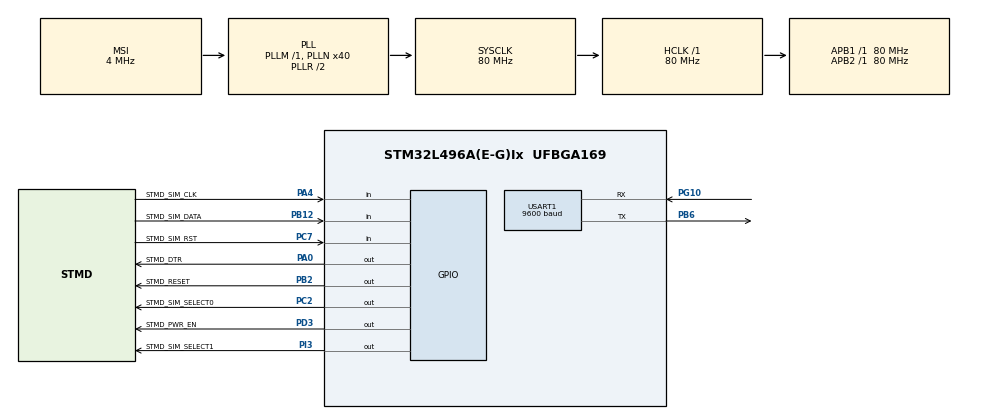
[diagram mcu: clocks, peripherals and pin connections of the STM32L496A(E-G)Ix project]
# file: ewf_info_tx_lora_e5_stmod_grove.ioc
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Mcu.Family=STM32L4
Mcu.Name=STM32L496A(E-G)Ix
Mcu.Package=UFBGA169
NVIC.PriorityGroup=NVIC_PRIORITYGROUP_4
NVIC.TIM6_DAC_IRQn=true\:15\:0\:false\:false\:true\:false\:false\:true\:true
NVIC.TimeBase=TIM6_DAC_IRQn
NVIC.TimeBaseIP=TIM6
NVIC.USART1_IRQn=true\:0\:0\:false\:false\:true\:false\:true\:true\:true
PA0.GPIO_Label=STMD_DTR
PA0.Signal=GPIO_Output
PA13\ (JTMS/SWDIO).Signal=SYS_JTMS-SWDIO
PA14\ (JTCK/SWCLK).Signal=SYS_JTCK-SWCLK
PA4.GPIO_Label=STMD_SIM_CLK
PA4.Signal=GPIO_Input
PB12.GPIO_Label=STMD_SIM_DATA
PB12.Signal=GPIO_Input
PB2.GPIO_Label=STMD_RESET
PB2.PinState=GPIO_PIN_SET
PB2.Signal=GPIO_Output
PB3\ (JTDO/TRACESWO).Signal=SYS_JTDO-SWO
PB6.Mode=Asynchronous
PB6.Signal=USART1_TX
PC2.GPIO_Label=STMD_SIM_SELECT0
PC2.GPIO_PuPd=GPIO_PULLDOWN
PC2.Signal=GPIO_Output
PC7.GPIO_Label=STMD_SIM_RST
PC7.Signal=GPIO_Input
PD3.GPIO_Label=STMD_PWR_EN
PD3.GPIO_PuPd=GPIO_NOPULL
PD3.PinState=GPIO_PIN_SET
PD3.Signal=GPIO_Output
PG10.Mode=Asynchronous
PG10.Signal=USART1_RX
PG11.Signal=USART1_CTS
PG12.Signal=USART1_RTS
PI3.GPIO_Label=STMD_SIM_SELECT1
PI3.GPIO_PuPd=GPIO_PULLDOWN
PI3.Signal=GPIO_Output
ProjectManager.HeapSize=0x200
ProjectManager.StackSize=0x400
ProjectManager.TargetToolchain=STM32CubeIDE
RCC.ADCFreq_Value=40000000
RCC.AHBFreq_Value=80000000
RCC.APB1Freq_Value=80000000
RCC.APB1TimFreq_Value=80000000
RCC.APB2Freq_Value=80000000
RCC.APB2TimFreq_Value=80000000
RCC.CortexFreq_Value=80000000
RCC.HCLKFreq_Value=80000000
RCC.HSE_VALUE=8000000
RCC.HSI48_VALUE=48000000
RCC.HSI_VALUE=16000000
RCC.LSE_VALUE=32768
RCC.MSI_VALUE=4000000
RCC.PLLN=40
RCC.PLLSAI1N=20
RCC.SYSCLKFreq_VALUE=80000000
RCC.SYSCLKSource=RCC_SYSCLKSOURCE_PLLCLK
RCC.USBFreq_Value=40000000
RCC.VCOOutputFreq_Value=160000000
STMicroelectronics.X-CUBE-AZRTOS-L4.1.0.0.TX_APP_MEM_POOL_SIZE=512
STMicroelectronics.X-CUBE-AZRTOS-L4.1.0.0.ThreadXCcRTOSJjThreadXJjCore=true
STMicroelectronics.X-CUBE-AZRTOS-L4.1.0.0_IsAnAzureRtosMw=true
USART1.BaudRate=9600
USART1.DMADisableonRxErrorParam=ADVFEATURE_DMA_ENABLEONRXERROR
USART1.VirtualMode-Asynchronous=VM_ASYNC
VP_STMicroelectronics.X-CUBE-AZRTOS-L4_VS_RTOSJjThreadX_6.1.7_1.0.0.Mode=RTOSJjThreadX
VP_SYS_VS_tim6.Mode=TIM6
board=STM32L496G-DISCO

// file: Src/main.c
/* USER CODE BEGIN Header */
/**
  ******************************************************************************
  * @file           : main.c
  * @brief          : Main program body
  ******************************************************************************
  * @attention
  *
  * Copyright (c) 2022 STMicroelectronics.
  * All rights reserved.
  *
  * This software is licensed under terms that can be found in the LICENSE file
  * in the root directory of this software component.
  * If no LICENSE file comes with this software, it is provided AS-IS.
  *
  ******************************************************************************
  */
/* USER CODE END Header */
#include "main.h"
#include "app_threadx.h"

/* USER CODE BEGIN Includes */

#include <stdio.h>

#include "ewf_lib.c"
#include "ewf_platform_threadx.c"
#include "ewf_allocator.c"
#include "ewf_allocator_threadx.c"
#include "ewf_interface.c"
#include "ewf_interface_stm32_uart.c"
#include "ewf_adapter.c"
#include "ewf_adapter_api_control.c"
#include "ewf_adapter_api_info.c"
#include "ewf_adapter_api_tls_basic.c"
#include "ewf_adapter_api_mqtt_basic.c"
#include "ewf_adapter_api_tcp.c"
#include "ewf_adapter_api_udp.c"
#include "ewf_adapter_seeed_lora_e5.c"
#include "ewf_example.config.h"

/* USER CODE END Includes */

/* USER CODE BEGIN PTD */
#if defined ( __GNUC__) && !defined(__clang__)
/* With GCC, small printf (option LD Linker->Libraries->Small printf
   set to 'Yes') calls __io_putchar() */
#define PUTCHAR_PROTOTYPE int __io_putchar(int ch)
#else
#define PUTCHAR_PROTOTYPE int fputc(int ch, FILE *f)
#endif /* __GNUC__ */

/* USER CODE END PTD */

UART_HandleTypeDef huart1;

void SystemClock_Config(void);
static void MX_GPIO_Init(void);
static void MX_USART1_UART_Init(void);

/* USER CODE BEGIN 0 */

/**
* @brief  Retargets the C library printf function to the USART.
* @param  None
* @retval None
*/

PUTCHAR_PROTOTYPE
{
    /* Place your implementation of fputc here */
    /* e.g. write a character to the USART1 and Loop until the end of transmission */
    ITM_SendChar(ch);
    return ch;
}

ewf_result ewf_adapter_seed_lora_e5_test_raw_transmit(ewf_adapter* adapter_ptr)
{
    EWF_ADAPTER_VALIDATE_POINTER(adapter_ptr);
    EWF_ADAPTER_VALIDATE_POINTER_TYPE(adapter_ptr, EWF_ADAPTER_TYPE_SEEED_LORA_E5);
    ewf_interface* interface_ptr = adapter_ptr->interface_ptr;
    EWF_INTERFACE_VALIDATE_POINTER(interface_ptr);

    ewf_result result;

    // Setup
    if (ewf_result_failed(result = ewf_interface_send_command(interface_ptr, "AT\r\n"))) return result;
    if (ewf_result_failed(result = ewf_interface_drop_response(interface_ptr))) return result;

    if (ewf_result_failed(result = ewf_interface_send_command(interface_ptr, "AT+MODE=TEST\r\n"))) return result;
    if (ewf_result_failed(result = ewf_interface_drop_response(interface_ptr))) return result;

    if (ewf_result_failed(result = ewf_interface_send_command(interface_ptr, "AT+TEST=RFCFG,866,SF12,125,12,15,14,ON,OFF,OFF\r\n"))) return result;
    if (ewf_result_failed(result = ewf_interface_drop_response(interface_ptr))) return result;

	// Loop
	for (int i = 0; i < (60 * 60 * 1); i++)
	{
        if (ewf_result_failed(result = ewf_interface_send_command(interface_ptr, "AT+MODE=RXLRPKT\r\n"))) return result;
        if (ewf_result_failed(result = ewf_interface_drop_response(interface_ptr))) return result;
	}

	return EWF_RESULT_OK;
}

void thread_sample_entry(ULONG thread_input)
{
    ewf_result result;

    ewf_allocator* message_allocator_ptr = NULL;
    ewf_interface* interface_ptr = NULL;
    ewf_adapter* adapter_ptr = NULL;

    EWF_ALLOCATOR_THREADX_STATIC_DECLARE(message_allocator_ptr, message_allocator,
        EWF_CONFIG_ALLOCATOR_BLOCK_COUNT,
        EWF_CONFIG_ALLOCATOR_BLOCK_SIZE);
    EWF_INTERFACE_STM32_UART_STATIC_DECLARE(interface_ptr, stm32_uart_port, &huart1);
    EWF_ADAPTER_SEEED_LORA_E5_STATIC_DECLARE(adapter_ptr, lora_e5, message_allocator_ptr, NULL, interface_ptr);

    // Initialize the port
    MX_USART1_UART_Init();

    // Start the adapter
    if (ewf_result_failed(result = ewf_adapter_start(adapter_ptr)))
    {
        EWF_LOG_ERROR("Failed to start the adapter, ewf_result %d.\n", result);
        return;
    }

    // Call the raw transmit test
	if (ewf_result_failed(result = ewf_adapter_seed_lora_e5_test_raw_transmit(adapter_ptr)))
	{
        EWF_LOG_ERROR("The raw transmit test failed, ewf_result %d.\n", result);
        // continue
	}

    EWF_LOG("\nDone!\n");

    /* Wait forever  */
    while (1)
    {
        EWF_LOG(".");
        ewf_platform_sleep(EWF_PLATFORM_TICKS_PER_SECOND);
    }
}
/* USER CODE END 0 */

int main(void)
{

  /* MCU Configuration--------------------------------------------------------*/

  /* Reset of all peripherals, Initializes the Flash interface and the Systick. */
  HAL_Init();

  /* Configure the system clock */
  SystemClock_Config();

  /* Initialize all configured peripherals */
  MX_GPIO_Init();

  MX_ThreadX_Init();

  /* We should never get here as control is now taken by the scheduler */
  /* Infinite loop */
  while (1)
  {

  }
}

void SystemClock_Config(void)
{
  RCC_OscInitTypeDef RCC_OscInitStruct = {0};
  RCC_ClkInitTypeDef RCC_ClkInitStruct = {0};

  /** Configure the main internal regulator output voltage
  */
  if (HAL_PWREx_ControlVoltageScaling(PWR_REGULATOR_VOLTAGE_SCALE1) != HAL_OK)
  {
    Error_Handler();
  }

  /** Initializes the RCC Oscillators according to the specified parameters
  * in the RCC_OscInitTypeDef structure.
  */
  RCC_OscInitStruct.OscillatorType = RCC_OSCILLATORTYPE_MSI;
  RCC_OscInitStruct.MSIState = RCC_MSI_ON;
  RCC_OscInitStruct.MSICalibrationValue = 0;
  RCC_OscInitStruct.MSIClockRange = RCC_MSIRANGE_6;
  RCC_OscInitStruct.PLL.PLLState = RCC_PLL_ON;
  RCC_OscInitStruct.PLL.PLLSource = RCC_PLLSOURCE_MSI;
  RCC_OscInitStruct.PLL.PLLM = 1;
  RCC_OscInitStruct.PLL.PLLN = 40;
  RCC_OscInitStruct.PLL.PLLP = RCC_PLLP_DIV2;
  RCC_OscInitStruct.PLL.PLLQ = RCC_PLLQ_DIV2;
  RCC_OscInitStruct.PLL.PLLR = RCC_PLLR_DIV2;
  if (HAL_RCC_OscConfig(&RCC_OscInitStruct) != HAL_OK)
  {
    Error_Handler();
  }

  /** Initializes the CPU, AHB and APB buses clocks
  */
  RCC_ClkInitStruct.ClockType = RCC_CLOCKTYPE_HCLK|RCC_CLOCKTYPE_SYSCLK
                              |RCC_CLOCKTYPE_PCLK1|RCC_CLOCKTYPE_PCLK2;
  RCC_ClkInitStruct.SYSCLKSource = RCC_SYSCLKSOURCE_PLLCLK;
  RCC_ClkInitStruct.AHBCLKDivider = RCC_SYSCLK_DIV1;
  RCC_ClkInitStruct.APB1CLKDivider = RCC_HCLK_DIV1;
  RCC_ClkInitStruct.APB2CLKDivider = RCC_HCLK_DIV1;

  if (HAL_RCC_ClockConfig(&RCC_ClkInitStruct, FLASH_LATENCY_4) != HAL_OK)
  {
    Error_Handler();
  }
}

static void MX_USART1_UART_Init(void)
{

  huart1.Instance = USART1;
  huart1.Init.BaudRate = 9600;
  huart1.Init.WordLength = UART_WORDLENGTH_8B;
  huart1.Init.StopBits = UART_STOPBITS_1;
  huart1.Init.Parity = UART_PARITY_NONE;
  huart1.Init.Mode = UART_MODE_TX_RX;
  huart1.Init.HwFlowCtl = UART_HWCONTROL_NONE;
  huart1.Init.OverSampling = UART_OVERSAMPLING_16;
  huart1.Init.OneBitSampling = UART_ONE_BIT_SAMPLE_DISABLE;
  huart1.AdvancedInit.AdvFeatureInit = UART_ADVFEATURE_NO_INIT;
  if (HAL_UART_Init(&huart1) != HAL_OK)
  {
    Error_Handler();
  }

}

static void MX_GPIO_Init(void)
{
  GPIO_InitTypeDef GPIO_InitStruct = {0};

  /* GPIO Ports Clock Enable */
  __HAL_RCC_GPIOB_CLK_ENABLE();
  __HAL_RCC_GPIOA_CLK_ENABLE();
  __HAL_RCC_GPIOI_CLK_ENABLE();
  __HAL_RCC_GPIOG_CLK_ENABLE();
  HAL_PWREx_EnableVddIO2();
  __HAL_RCC_GPIOD_CLK_ENABLE();
  __HAL_RCC_GPIOC_CLK_ENABLE();

  /*Configure GPIO pin Output Level */
  HAL_GPIO_WritePin(STMD_SIM_SELECT1_GPIO_Port, STMD_SIM_SELECT1_Pin, GPIO_PIN_RESET);

  /*Configure GPIO pin Output Level */
  HAL_GPIO_WritePin(STMD_PWR_EN_GPIO_Port, STMD_PWR_EN_Pin, GPIO_PIN_SET);

  /*Configure GPIO pin Output Level */
  HAL_GPIO_WritePin(STMD_SIM_SELECT0_GPIO_Port, STMD_SIM_SELECT0_Pin, GPIO_PIN_RESET);

  /*Configure GPIO pin Output Level */
  HAL_GPIO_WritePin(STMD_DTR_GPIO_Port, STMD_DTR_Pin, GPIO_PIN_RESET);

  /*Configure GPIO pin Output Level */
  HAL_GPIO_WritePin(STMD_RESET_GPIO_Port, STMD_RESET_Pin, GPIO_PIN_SET);

  /*Configure GPIO pin : STMD_SIM_SELECT1_Pin */
  GPIO_InitStruct.Pin = STMD_SIM_SELECT1_Pin;
  GPIO_InitStruct.Mode = GPIO_MODE_OUTPUT_PP;
  GPIO_InitStruct.Pull = GPIO_PULLDOWN;
  GPIO_InitStruct.Speed = GPIO_SPEED_FREQ_LOW;
  HAL_GPIO_Init(STMD_SIM_SELECT1_GPIO_Port, &GPIO_InitStruct);

  /*Configure GPIO pin : STMD_PWR_EN_Pin */
  GPIO_InitStruct.Pin = STMD_PWR_EN_Pin;
  GPIO_InitStruct.Mode = GPIO_MODE_OUTPUT_PP;
  GPIO_InitStruct.Pull = GPIO_NOPULL;
  GPIO_InitStruct.Speed = GPIO_SPEED_FREQ_LOW;
  HAL_GPIO_Init(STMD_PWR_EN_GPIO_Port, &GPIO_InitStruct);

  /*Configure GPIO pin : STMD_SIM_RST_Pin */
  GPIO_InitStruct.Pin = STMD_SIM_RST_Pin;
  GPIO_InitStruct.Mode = GPIO_MODE_INPUT;
  GPIO_InitStruct.Pull = GPIO_NOPULL;
  HAL_GPIO_Init(STMD_SIM_RST_GPIO_Port, &GPIO_InitStruct);

  /*Configure GPIO pin : STMD_SIM_SELECT0_Pin */
  GPIO_InitStruct.Pin = STMD_SIM_SELECT0_Pin;
  GPIO_InitStruct.Mode = GPIO_MODE_OUTPUT_PP;
  GPIO_InitStruct.Pull = GPIO_PULLDOWN;
  GPIO_InitStruct.Speed = GPIO_SPEED_FREQ_LOW;
  HAL_GPIO_Init(STMD_SIM_SELECT0_GPIO_Port, &GPIO_InitStruct);

  /*Configure GPIO pin : STMD_DTR_Pin */
  GPIO_InitStruct.Pin = STMD_DTR_Pin;
  GPIO_InitStruct.Mode = GPIO_MODE_OUTPUT_PP;
  GPIO_InitStruct.Pull = GPIO_NOPULL;
  GPIO_InitStruct.Speed = GPIO_SPEED_FREQ_LOW;
  HAL_GPIO_Init(STMD_DTR_GPIO_Port, &GPIO_InitStruct);

  /*Configure GPIO pin : STMD_SIM_CLK_Pin */
  GPIO_InitStruct.Pin = STMD_SIM_CLK_Pin;
  GPIO_InitStruct.Mode = GPIO_MODE_INPUT;
  GPIO_InitStruct.Pull = GPIO_NOPULL;
  HAL_GPIO_Init(STMD_SIM_CLK_GPIO_Port, &GPIO_InitStruct);

  /*Configure GPIO pin : STMD_RESET_Pin */
  GPIO_InitStruct.Pin = STMD_RESET_Pin;
  GPIO_InitStruct.Mode = GPIO_MODE_OUTPUT_PP;
  GPIO_InitStruct.Pull = GPIO_NOPULL;
  GPIO_InitStruct.Speed = GPIO_SPEED_FREQ_LOW;
  HAL_GPIO_Init(STMD_RESET_GPIO_Port, &GPIO_InitStruct);

  /*Configure GPIO pin : STMD_SIM_DATA_Pin */
  GPIO_InitStruct.Pin = STMD_SIM_DATA_Pin;
  GPIO_InitStruct.Mode = GPIO_MODE_INPUT;
  GPIO_InitStruct.Pull = GPIO_NOPULL;
  HAL_GPIO_Init(STMD_SIM_DATA_GPIO_Port, &GPIO_InitStruct);

}

void HAL_TIM_PeriodElapsedCallback(TIM_HandleTypeDef *htim)
{
  if (htim->Instance == TIM6) {
    HAL_IncTick();
  }
}

void Error_Handler(void)
{
  __disable_irq();
  while (1)
  {
  }
}
